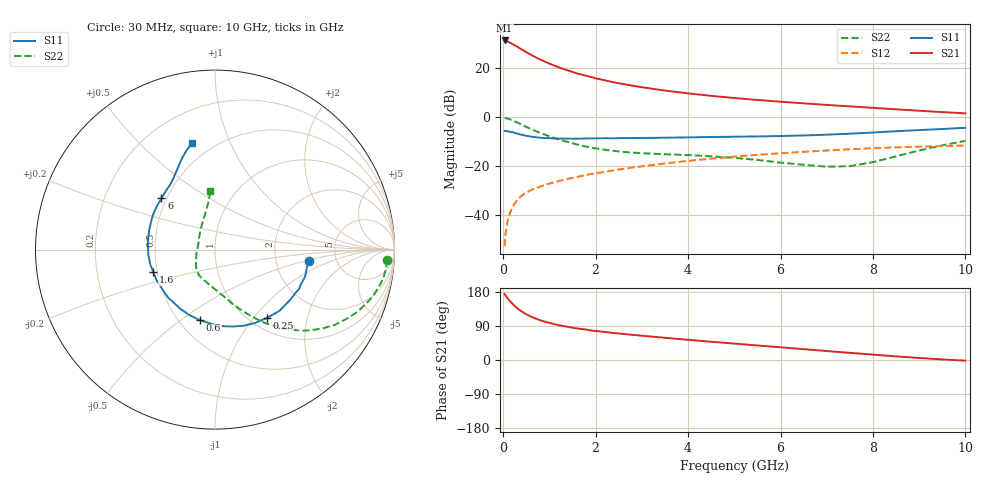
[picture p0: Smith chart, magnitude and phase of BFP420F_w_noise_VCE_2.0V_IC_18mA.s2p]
! Infineon Technologies  Discrete & RF Semiconductors
! BFP420F
! VCE =  2.0 V,  IC =  18 mA
! Common Emitter S-Parameters:  Sep 2011
# GHz  S  MA  R  50
!  f  S11  S21  S12  S22
! GHz  MAG  ANG  MAG  ANG  MAG  ANG  MAG  ANG
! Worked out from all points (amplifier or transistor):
!   54 points, 30 MHz to 10 GHz, reference 50 ohm
!   highest |S21| = 31.5 dB at 30 MHz (marker M1)
!   |S21| within 3 dB of that: start of sweep to 339.6 MHz
!   unconditionally stable (mu >= 1): 1.686 GHz to end of sweep
!   at 120 MHz: K = 0.23, MSG = 35.9 dB, |S12| = -40.9 dB
!   at 1.3 GHz: K = 0.89, MSG = 22.7 dB, |S12| = -25.6 dB
!   at 10 GHz: K = 1.24, MAG = 3.6 dB, |S12| = -11.6 dB
!   lowest NFmin = 1.47 dB at 900 MHz
!   S11 on the Smith chart (normalised r, x): 30 MHz: 3.12, -0.53; 250 MHz: 1.18, -1.17; 600 MHz: 0.63, -0.59; 1.6 GHz: 0.48, -0.14; 6 GHz: 0.47, +0.32; 10 GHz: 0.39, +0.73
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0.03  0.5266 -6.7  37.45 173.9  0.0023 91.2  0.9612 -3.5
0.05  0.5209 -10.7  36.83 170.0  0.0041 87.5  0.9595 -6.2
0.07  0.5241 -16.3  36.62 167.1  0.0055 85.5  0.9524 -8.9
0.12  0.5118 -27.2  34.9 158.7  0.009 81.0  0.9246 -15.0
0.2  0.4954 -43.6  31.67 148.3  0.0145 74.7  0.8668 -23.6
0.25  0.4778 -52.9  29.66 142.3  0.0173 72.1  0.8251 -28.1
0.3  0.4647 -62.0  27.95 137.0  0.0202 69.8  0.7862 -32.3
0.4  0.4388 -77.5  24.45 128.0  0.0248 66.0  0.7076 -39.2
0.5  0.4186 -90.4  21.53 120.8  0.0287 63.5  0.6375 -44.8
0.6  0.4024 -102.0  19.02 114.6  0.0322 61.7  0.5757 -49.5
0.8  0.3825 -120.2  15.27 104.8  0.0383 60.0  0.48 -56.9
1  0.3741 -133.7  12.56 97.9  0.044 59.5  0.408 -62.7
1.2  0.3666 -144.6  10.54 92.0  0.0495 59.1  0.3538 -68.0
1.6  0.3657 -160.1  7.902 83.3  0.0604 58.8  0.2781 -77.4
1.7  0.3667 -163.1  7.452 81.8  0.0631 58.8  0.2632 -79.7
2.4  0.3717 -179.4  5.189 71.1  0.0826 57.4  0.205 -95.9
3.5  0.3824 163.4  3.532 58.6  0.1137 53.7  0.1754 -115.0
5.5  0.4059 141.6  2.267 38.3  0.1704 42.7  0.1341 -142.7
6  0.4135 136.2  2.086 33.5  0.1839 39.5  0.1181 -152.7
7  0.4407 124.3  1.793 23.6  0.2092 33.0  0.0975 175.4
8.5  0.5186 112.3  1.458 9.5  0.2427 22.3  0.1589 117.2
10  0.6083 101.9  1.205 -1.8  0.2644 13.1  0.3291 94.4
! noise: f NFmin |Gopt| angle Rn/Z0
0.45  1.49  0.14  179  0.11
0.9  1.47  0.15  176  0.13
1.9  1.6  0.24  -172  0.18
2.4  1.67  0.25  -168  0.12
3.5  1.9  0.27  -159  0.16
